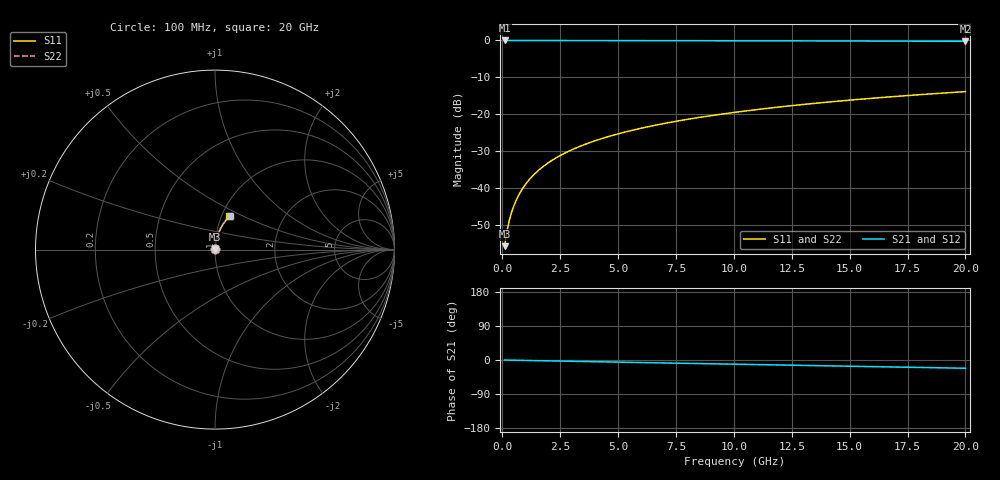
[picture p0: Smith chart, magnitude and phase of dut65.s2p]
! Touchstone file exported from HFSS 2026.1.0
!  File:  C:/ffzhzh/LocalFiles/Ansys_Project_Files/temp_train_TMRDL_65_1782881093_13352.aedt
!  Generated:  12:46:08 PM Jul  1, 2026
!  Design:  TMRDL
!  Project:  temp_train_TMRDL_65_1782881093_13352
! Variables:
!  h_bsmrdl = 2um
!  h_ox = 20um
!  h_rdl = 5um
!  h_sub = 80um
!  h_tmrdl = 4.84um
!  h_tsv = 80um
!  h_via = 3um
!  l_bsmrdl = 300um
!  l_sub = 695.64um
!  l_tmrdl = 295.64um
!  m_sub = 200um
!  pitch = 47.69um
!  r_tsv = 6um
!  s_tmrdl = 10um
!  w_bsmrdl = 18um
!  w_sub = 500um
!  w_tmrdl = 22.63um
!  x_tsv_center1 = 306.955um
!  x_tsv_center2 = 624.955um
!  x_tsv_center3 = 943.225um
!  x_tsv_center4 = 1261.225um
!  x_tsv_center5 = 1579.495um
!  x_tsv_center6 = 1897.495um
# GHz S MA R 50.000000
! Terminal data exported
! Port[1] = TM_RDL1_1_T1
! Port[2] = TM_RDL1_1_T2
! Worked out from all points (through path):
!   200 points, 100 MHz to 20 GHz, reference 50 ohm
!   highest |S21| = -0.01 dB at 100 MHz (marker M1); lowest = -0.2 dB at 20 GHz (marker M2)
!   group delay of S21, straight-line fit = 3.02 ps
!   lowest |S11| = -55.6 dB at 100 MHz (marker M3), VSWR 1.00, Z = 50.1 + j0.121 ohm
!   |S11| at or under -10 dB: start of sweep to end of sweep
!   |S22| runs from -55.6 to -13.8 dB; largest |S21 - S12| = 8e-15
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0.1  0.001655 47.1  0.9989 -0.1  0.9989 -0.1  0.001655 47.1
! Gamma 0 0 0 0
! Port Impedance 50 0 50 0
0.2  0.002634 62.8  0.9988 -0.2  0.9988 -0.2  0.002634 62.8
0.3  0.003669 69.9  0.9987 -0.4  0.9987 -0.4  0.003669 69.9
0.4  0.004732 74.0  0.9987 -0.5  0.9987 -0.5  0.004732 74.0
0.5  0.005812 76.6  0.9986 -0.6  0.9986 -0.6  0.005812 76.6
0.6  0.006903 78.4  0.9986 -0.7  0.9986 -0.7  0.006903 78.4
0.8  0.009101 80.6  0.9985 -0.9  0.9985 -0.9  0.009101 80.6
1.1  0.01242 82.2  0.9984 -1.3  0.9984 -1.3  0.01242 82.2
1.3  0.01463 82.8  0.9984 -1.5  0.9984 -1.5  0.01463 82.8
1.5  0.01684 83.1  0.9983 -1.7  0.9983 -1.7  0.01684 83.1
1.8  0.02014 83.4  0.9981 -2.0  0.9981 -2.0  0.02014 83.4
2.1  0.02343 83.4  0.998 -2.4  0.998 -2.4  0.02343 83.4
2.7  0.02998 83.2  0.9976 -3.1  0.9976 -3.1  0.02998 83.2
3.5  0.03861 82.7  0.997 -4.0  0.997 -4.0  0.03861 82.7
4.2  0.04608 82.1  0.9964 -4.7  0.9964 -4.7  0.04608 82.1
5  0.05456 81.4  0.9957 -5.6  0.9957 -5.6  0.05456 81.4
6.8  0.07338 79.7  0.9939 -7.6  0.9939 -7.6  0.07338 79.7
8.3  0.08887 78.3  0.9922 -9.2  0.9922 -9.2  0.08887 78.3
10.1  0.1072 76.5  0.99 -11.2  0.99 -11.2  0.1072 76.5
13.4  0.1402 73.2  0.9852 -14.8  0.9852 -14.8  0.1402 73.2
16.7  0.1722 69.9  0.9796 -18.3  0.9796 -18.3  0.1722 69.9
20  0.2031 66.6  0.9733 -21.8  0.9733 -21.8  0.2031 66.6
